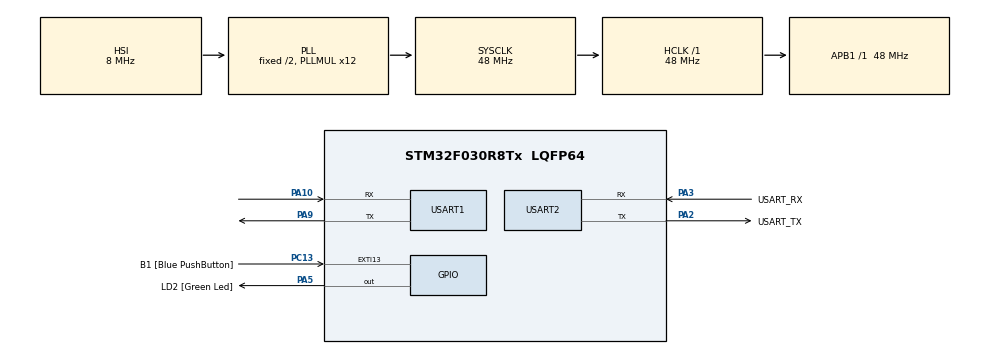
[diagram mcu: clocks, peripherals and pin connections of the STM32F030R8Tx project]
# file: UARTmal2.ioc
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Mcu.Family=STM32F0
Mcu.Name=STM32F030R8Tx
Mcu.Package=LQFP64
NVIC.USART1_IRQn=true\:0\:0\:false\:false\:true\:true\:true\:true
NVIC.USART2_IRQn=true\:0\:0\:false\:false\:true\:true\:true\:true
PA10.Mode=Asynchronous
PA10.Signal=USART1_RX
PA13.GPIO_Label=TMS
PA13.Mode=Serial_Wire
PA13.Signal=SYS_SWDIO
PA14.GPIO_Label=TCK
PA14.Mode=Serial_Wire
PA14.Signal=SYS_SWCLK
PA2.GPIO_Label=USART_TX
PA2.GPIO_Mode=GPIO_MODE_AF_PP
PA2.GPIO_PuPd=GPIO_NOPULL
PA2.GPIO_Speed=GPIO_SPEED_FREQ_LOW
PA2.Mode=Asynchronous
PA2.Signal=USART2_TX
PA3.GPIO_Label=USART_RX
PA3.GPIO_Mode=GPIO_MODE_AF_PP
PA3.GPIO_PuPd=GPIO_NOPULL
PA3.GPIO_Speed=GPIO_SPEED_FREQ_LOW
PA3.Mode=Asynchronous
PA3.Signal=USART2_RX
PA5.GPIO_Label=LD2 [Green Led]
PA5.GPIO_Mode=GPIO_MODE_OUTPUT_PP
PA5.GPIO_PuPd=GPIO_NOPULL
PA5.GPIO_Speed=GPIO_SPEED_FREQ_LOW
PA5.Signal=GPIO_Output
PA9.Mode=Asynchronous
PA9.Signal=USART1_TX
PC13.GPIO_Label=B1 [Blue PushButton]
PC13.GPIO_ModeDefaultEXTI=GPIO_MODE_IT_FALLING
PC13.Signal=GPXTI13
PC14-OSC32_IN.Mode=LSE-External-Oscillator
PC14-OSC32_IN.Signal=RCC_OSC32_IN
PC15-OSC32_OUT.Mode=LSE-External-Oscillator
PC15-OSC32_OUT.Signal=RCC_OSC32_OUT
PF0-OSC_IN.Mode=HSE-External-Clock-Source
PF0-OSC_IN.Signal=RCC_OSC_IN
PF1-OSC_OUT.Signal=RCC_OSC_OUT
ProjectManager.HeapSize=0x200
ProjectManager.StackSize=0x400
ProjectManager.TargetToolchain=STM32CubeIDE
RCC.AHBFreq_Value=48000000
RCC.APB1Freq_Value=48000000
RCC.APB1TimFreq_Value=48000000
RCC.HCLKFreq_Value=48000000
RCC.PLLMUL=RCC_PLL_MUL12
RCC.SYSCLKFreq_VALUE=48000000
RCC.SYSCLKSource=RCC_SYSCLKSOURCE_PLLCLK
USART1.VirtualMode-Asynchronous=VM_ASYNC
USART2.VirtualMode-Asynchronous=VM_ASYNC
board=NUCLEO-F030R8

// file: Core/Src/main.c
/* USER CODE BEGIN Header */
/**
  ******************************************************************************
  * @file           : main.c
  * @brief          : Main program body
  ******************************************************************************
  * @attention
  *
  * Copyright (c) 2024 STMicroelectronics.
  * All rights reserved.
  *
  * This software is licensed under terms that can be found in the LICENSE file
  * in the root directory of this software component.
  * If no LICENSE file comes with this software, it is provided AS-IS.
  *
  ******************************************************************************
  */
/* USER CODE END Header */
#include "main.h"

/* USER CODE BEGIN Includes */
#include <string.h>
/* USER CODE END Includes */

/* USER CODE BEGIN PD */
#define FALSE 0
#define TRUE !FALSE
#define RXBuffer_Size 16
/* USER CODE END PD */

UART_HandleTypeDef huart1;
UART_HandleTypeDef huart2;

/* USER CODE BEGIN PV */
uint8_t rxChar1, rxChar2;
uint8_t rxIndex = 0;
uint8_t rxBuffer[RXBuffer_Size];
uint8_t rx1Received=FALSE, rx2Received=FALSE;

/* USER CODE END PV */

void SystemClock_Config(void);
static void MX_GPIO_Init(void);
static void MX_USART2_UART_Init(void);
static void MX_USART1_UART_Init(void);
/* USER CODE BEGIN PFP */
void UART_send(UART_HandleTypeDef *huart, char buffer[]);
/* USER CODE END PFP */

void UART_send(UART_HandleTypeDef *huart, char buffer[])
{
	HAL_UART_Transmit(huart, (uint8_t*) buffer, strlen(buffer), HAL_MAX_DELAY);
}

int main(void)
{

  /* MCU Configuration--------------------------------------------------------*/

  /* Reset of all peripherals, Initializes the Flash interface and the Systick. */
  HAL_Init();

  /* Configure the system clock */
  SystemClock_Config();

  /* Initialize all configured peripherals */
  MX_GPIO_Init();
  MX_USART2_UART_Init();
  MX_USART1_UART_Init();
  /* USER CODE BEGIN 2 */
  UART_send(&huart1, "UART1 OK\n");
  UART_send(&huart2, "UART2 OK\n");

  // Aufruf der nichtblockierenden Funktionen triggert die ISR bei Empfang der angegbeben Zeichenanzahl
  HAL_UART_Receive_IT(&huart1, &rxChar1, 1);
  HAL_UART_Receive_IT(&huart2, &rxChar2, 1);

  /* USER CODE END 2 */

  /* Infinite loop */
  /* USER CODE BEGIN WHILE */
  while (1)
  {
	  // An UART1 Empfangenes an UART2 ausgeben
	  if (rx1Received) {
		  HAL_UART_Transmit(&huart2, &rxChar1, sizeof(rxChar1), 5);
		  rx1Received=FALSE;
	  }
	  // An UART2 Empfangenes an UART1 ausgeben
	  if (rx2Received) {
		  HAL_UART_Transmit(&huart1, &rxChar2, sizeof(rxChar2), 5);
		  rx2Received=FALSE;
	  }
    /* USER CODE END WHILE */

  }
}

void SystemClock_Config(void)
{
  RCC_OscInitTypeDef RCC_OscInitStruct = {0};
  RCC_ClkInitTypeDef RCC_ClkInitStruct = {0};
  RCC_PeriphCLKInitTypeDef PeriphClkInit = {0};

  /** Initializes the RCC Oscillators according to the specified parameters
  * in the RCC_OscInitTypeDef structure.
  */
  RCC_OscInitStruct.OscillatorType = RCC_OSCILLATORTYPE_HSI;
  RCC_OscInitStruct.HSIState = RCC_HSI_ON;
  RCC_OscInitStruct.HSICalibrationValue = RCC_HSICALIBRATION_DEFAULT;
  RCC_OscInitStruct.PLL.PLLState = RCC_PLL_ON;
  RCC_OscInitStruct.PLL.PLLSource = RCC_PLLSOURCE_HSI;
  RCC_OscInitStruct.PLL.PLLMUL = RCC_PLL_MUL12;
  RCC_OscInitStruct.PLL.PREDIV = RCC_PREDIV_DIV1;
  if (HAL_RCC_OscConfig(&RCC_OscInitStruct) != HAL_OK)
  {
    Error_Handler();
  }

  /** Initializes the CPU, AHB and APB buses clocks
  */
  RCC_ClkInitStruct.ClockType = RCC_CLOCKTYPE_HCLK|RCC_CLOCKTYPE_SYSCLK
                              |RCC_CLOCKTYPE_PCLK1;
  RCC_ClkInitStruct.SYSCLKSource = RCC_SYSCLKSOURCE_PLLCLK;
  RCC_ClkInitStruct.AHBCLKDivider = RCC_SYSCLK_DIV1;
  RCC_ClkInitStruct.APB1CLKDivider = RCC_HCLK_DIV1;

  if (HAL_RCC_ClockConfig(&RCC_ClkInitStruct, FLASH_LATENCY_1) != HAL_OK)
  {
    Error_Handler();
  }
  PeriphClkInit.PeriphClockSelection = RCC_PERIPHCLK_USART1;
  PeriphClkInit.Usart1ClockSelection = RCC_USART1CLKSOURCE_PCLK1;
  if (HAL_RCCEx_PeriphCLKConfig(&PeriphClkInit) != HAL_OK)
  {
    Error_Handler();
  }
}

static void MX_USART1_UART_Init(void)
{

  huart1.Instance = USART1;
  huart1.Init.BaudRate = 38400;
  huart1.Init.WordLength = UART_WORDLENGTH_8B;
  huart1.Init.StopBits = UART_STOPBITS_1;
  huart1.Init.Parity = UART_PARITY_NONE;
  huart1.Init.Mode = UART_MODE_TX_RX;
  huart1.Init.HwFlowCtl = UART_HWCONTROL_NONE;
  huart1.Init.OverSampling = UART_OVERSAMPLING_16;
  huart1.Init.OneBitSampling = UART_ONE_BIT_SAMPLE_DISABLE;
  huart1.AdvancedInit.AdvFeatureInit = UART_ADVFEATURE_NO_INIT;
  if (HAL_UART_Init(&huart1) != HAL_OK)
  {
    Error_Handler();
  }

}

static void MX_USART2_UART_Init(void)
{

  huart2.Instance = USART2;
  huart2.Init.BaudRate = 38400;
  huart2.Init.WordLength = UART_WORDLENGTH_8B;
  huart2.Init.StopBits = UART_STOPBITS_1;
  huart2.Init.Parity = UART_PARITY_NONE;
  huart2.Init.Mode = UART_MODE_TX_RX;
  huart2.Init.HwFlowCtl = UART_HWCONTROL_NONE;
  huart2.Init.OverSampling = UART_OVERSAMPLING_16;
  huart2.Init.OneBitSampling = UART_ONE_BIT_SAMPLE_DISABLE;
  huart2.AdvancedInit.AdvFeatureInit = UART_ADVFEATURE_NO_INIT;
  if (HAL_UART_Init(&huart2) != HAL_OK)
  {
    Error_Handler();
  }

}

static void MX_GPIO_Init(void)
{
  GPIO_InitTypeDef GPIO_InitStruct = {0};

  /* GPIO Ports Clock Enable */
  __HAL_RCC_GPIOC_CLK_ENABLE();
  __HAL_RCC_GPIOF_CLK_ENABLE();
  __HAL_RCC_GPIOA_CLK_ENABLE();

  /*Configure GPIO pin Output Level */
  HAL_GPIO_WritePin(LD2_GPIO_Port, LD2_Pin, GPIO_PIN_RESET);

  /*Configure GPIO pin : B1_Pin */
  GPIO_InitStruct.Pin = B1_Pin;
  GPIO_InitStruct.Mode = GPIO_MODE_IT_FALLING;
  GPIO_InitStruct.Pull = GPIO_NOPULL;
  HAL_GPIO_Init(B1_GPIO_Port, &GPIO_InitStruct);

  /*Configure GPIO pin : LD2_Pin */
  GPIO_InitStruct.Pin = LD2_Pin;
  GPIO_InitStruct.Mode = GPIO_MODE_OUTPUT_PP;
  GPIO_InitStruct.Pull = GPIO_NOPULL;
  GPIO_InitStruct.Speed = GPIO_SPEED_FREQ_LOW;
  HAL_GPIO_Init(LD2_GPIO_Port, &GPIO_InitStruct);

}

/* USER CODE BEGIN 4 */
/**
  * @brief Rx Transfer completed callback.
  * @param huart UART handle.
  * @retval None
  */
void HAL_UART_RxCpltCallback(UART_HandleTypeDef *huart)
{
	if(huart->Instance == USART1)
	{
		HAL_UART_Receive_IT(&huart1, &rxChar1, 1);	// re-trigger UART-read
		rx1Received = TRUE;

	}
	if(huart->Instance == USART2)
	{
		HAL_UART_Receive_IT(&huart2, &rxChar2, 1);	// re-trigger UART-read
		rx2Received = TRUE;

	}

}
/* USER CODE END 4 */

void Error_Handler(void)
{
  __disable_irq();
  while (1)
  {
  }
}
